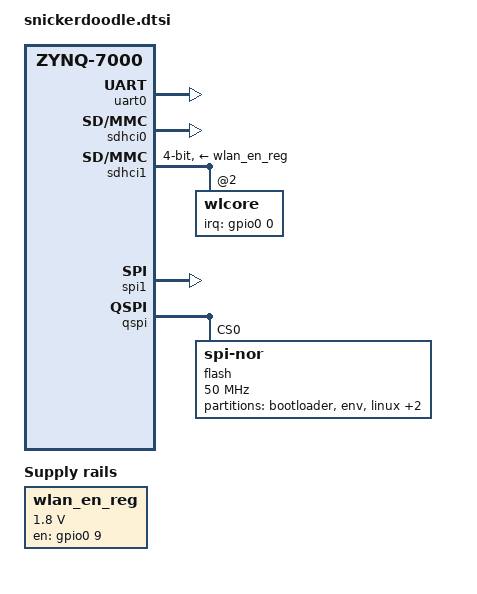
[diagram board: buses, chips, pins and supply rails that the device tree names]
/**
 * Copyright (c) 2016 krtkl inc.
 *
 * snickerdoodle base device tree source
 *
 * This program is free software; you can redistribute it and/or modify it
 * under the terms of the GNU General Public License version 2 as published by
 * the Free Software Foundation.
 */

/include/ "zynq-7000.dtsi"
/ {
        compatible = "krtkl,snickerdoodle", "xlnx,zynq-7000";

	aliases {
		serial0 = &uart0;
		spi0 = &qspi;
		spi1 = &spi1;
		mmc0 = &sdhci0;
		mmc1 = &sdhci1;
	};

	chosen {
		bootargs = "console=ttyPS0,115200n8 earlyprintk";
		linux,stdout-path = &uart0;
		stdout-path = &uart0;
	};

	wlan_en_reg: fixed-regulator-wlen {
		compatible = "regulator-fixed";
		regulator-name = "wlan-en-regulator";
		regulator-min-microvolt = <1800000>;
		regulator-max-microvolt = <1800000>;
		gpio = <&gpio0 9 4>;
		startup-delay-us = <70000>;
		enable-active-high;
	};

	xlnk {
		compatible = "xlnx,xlnk-1.0";
		clock-names = "clk50", "clk100", "clk150", "clk200";
		clocks = <&clkc 15>, <&clkc 16>, <&clkc 17>, <&clkc 18>;
	};
};

&clkc {
	ps-clk-frequency = <33333333>;
};

&uart0 {
	status = "okay";
};

&sdhci0 {
	status = "okay";
};

&sdhci1 {
	status = "okay";
	vmmc-supply = <&wlan_en_reg>;
	bus-width = <4>;
	cap-power-off-card;
	keep-power-in-suspend;
	#address-cells = <1>;
	#size-cells = <0>;	

	wlcore: wlcore@0 {
		reg = <2>;
		interrupt-parent = <&gpio0>;
		interrupts = <0 4>;
	};
};

&spi1 {
	status = "okay";
	num-cs = <1>;
};

&qspi {
	status = "okay";
	is-dual = <0>;
	num-cs = <1>;
	xlnx,qspi-mode = <1>;

	flash@0 {
		#address-cells = <1>;
		#size-cells =<1>;
		compatible = "jedec,spi-nor";
		reg = <0>;
		spi-max-frequency = <50000000>;
		m25p,fast-read;
		
		partition@bootloader {
			label = "bootloader";
			reg = <0x0 0xe0000>;
		};
		partition@env {
			label = "env";
			reg = <0xe0000 0x20000>;
		};
		partition@linux {
			label = "linux";
			reg = <0x100000 0x500000>;
		};
		partition@devicetree {
			label = "devicetree";
			reg = <0x600000 0x620000>;
		};
		partition@rootfs {
			label = "rootfs";
			reg = <0x620000 0x9e0000>;
		};
	};
};
